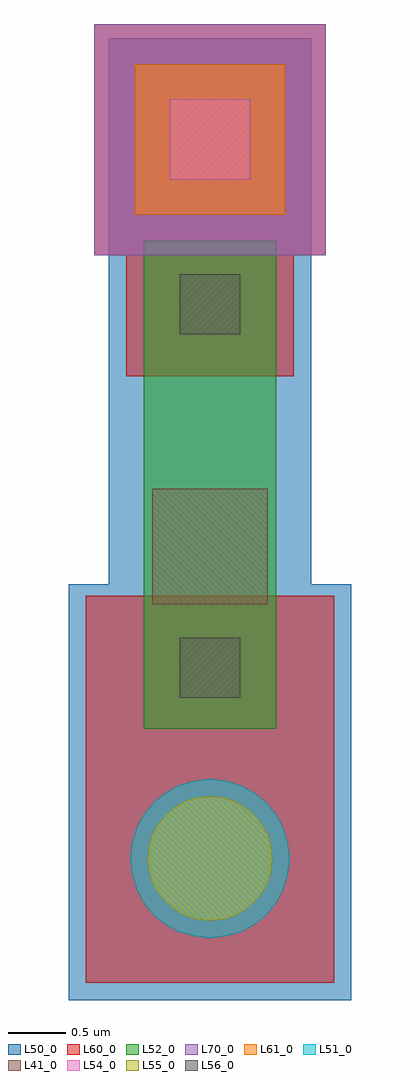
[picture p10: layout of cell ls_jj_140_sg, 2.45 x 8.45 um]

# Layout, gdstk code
import gdstk
lib = gdstk.Library(unit=1e-6, precision=1e-09)
def R(c, l, rs):  # rectangles x0, y0, x1, y1
    for r in rs: c.add(gdstk.rectangle(r[:2], r[2:], *l))
def P(c, l, *ps):  # polygons
    for p in ps: c.add(gdstk.Polygon(p, *l))
L41_0 = (41, 0)
L50_0 = (50, 0)
L51_0 = (51, 0)
L52_0 = (52, 0)
L54_0 = (54, 0)
L55_0 = (55, 0)
L56_0 = (56, 0)
L60_0 = (60, 0)
L61_0 = (61, 0)
L70_0 = (70, 0)

ls_conn_m5m6m7 = lib.new_cell('ls_conn_M5M6M7')
R(ls_conn_m5m6m7, L50_0, [(-0.5,-0.5,1.2,1.2)])
R(ls_conn_m5m6m7, L54_0, [(0,0,0.7,0.7)])
R(ls_conn_m5m6m7, L60_0, [(-0.65,-0.65,1.35,1.35)])
R(ls_conn_m5m6m7, L61_0, [(-0.3,-0.3,1,1)])
R(ls_conn_m5m6m7, L70_0, [(-0.65,-0.65,1.35,1.35)])

ls_jj_140_sg = lib.new_cell('ls_jj_140_sg')
R(ls_jj_140_sg, L41_0, [(-0.5,2.2,0.5,3.2)])
R(ls_jj_140_sg, L50_0, [(-1.225,-1.225,1.225,2.375), (-0.875,2.375,0.875,7.1)])
P(ls_jj_140_sg, L51_0, [(0,-0.69),(0.135,-0.675),(0.265,-0.64),(0.385,-0.575),(0.485,-0.49),(0.575,-0.385),(0.635,-0.265),(0.675,-0.135),(0.69,0),(0.675,0.135),(0.635,0.265),(0.575,0.38),(0.485,0.485),(0.385,0.57),(0.265,0.635),(0.135,0.675),(0,0.69),(-0.135,0.675),(-0.265,0.635),(-0.385,0.57),(-0.485,0.485),(-0.575,0.38),(-0.635,0.265),(-0.675,0.135),(-0.69,0),(-0.675,-0.135),(-0.635,-0.265),(-0.575,-0.385),(-0.485,-0.49),(-0.385,-0.575),(-0.265,-0.64),(-0.135,-0.675)])
R(ls_jj_140_sg, L52_0, [(-0.575,1.125,0.575,5.35)])
R(ls_jj_140_sg, L54_0, [(-0.35,5.875,0.35,6.575)])
P(ls_jj_140_sg, L55_0, [(0,-0.54),(0.11,-0.53),(0.21,-0.5),(0.3,-0.45),(0.38,-0.38),(0.45,-0.3),(0.5,-0.21),(0.53,-0.11),(0.54,0),(0.53,0.1),(0.5,0.21),(0.45,0.3),(0.38,0.38),(0.3,0.45),(0.21,0.5),(0.11,0.53),(0,0.54),(-0.11,0.53),(-0.21,0.5),(-0.3,0.45),(-0.38,0.38),(-0.45,0.3),(-0.5,0.21),(-0.53,0.1),(-0.54,0),(-0.53,-0.11),(-0.5,-0.21),(-0.45,-0.3),(-0.38,-0.38),(-0.3,-0.45),(-0.21,-0.5),(-0.11,-0.53)])
R(ls_jj_140_sg, L56_0, [(-0.26,1.39,0.26,1.91), (-0.26,4.54,0.26,5.06)])
R(ls_jj_140_sg, L60_0, [(-1.075,-1.075,1.075,2.275), (-0.725,4.175,0.725,6.95)])
ls_jj_140_sg.add(gdstk.Reference(ls_conn_m5m6m7, (-0.35,5.875)))

lib.write_gds('ls_jj_140_sg.gds')
